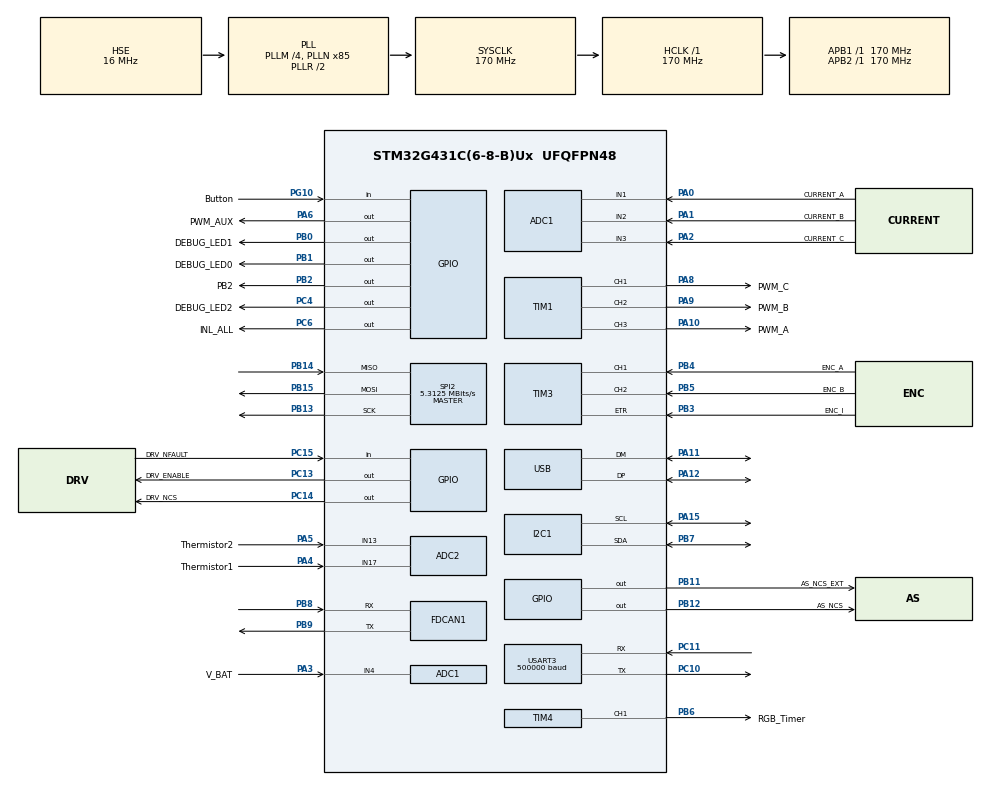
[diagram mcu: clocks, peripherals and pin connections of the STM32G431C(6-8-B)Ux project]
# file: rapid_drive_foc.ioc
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ADC1.Channel-0\#ChannelRegularConversion=ADC_CHANNEL_1
ADC1.Channel-1\#ChannelRegularConversion=ADC_CHANNEL_2
ADC1.Channel-2\#ChannelRegularConversion=ADC_CHANNEL_3
ADC1.Channel-3\#ChannelRegularConversion=ADC_CHANNEL_4
ADC1.ClockPrescaler=ADC_CLOCK_ASYNC_DIV4
ADC1.DMAContinuousRequests=ENABLE
ADC1.EOCSelection=ADC_EOC_SEQ_CONV
ADC1.EnableAnalogWatchDog1=false
ADC1.EnableInjectedConversion=ENABLE
ADC1.ExternalTrigConv=ADC_EXTERNALTRIG_T1_TRGO2
ADC1.ExternalTrigConvEdge=ADC_EXTERNALTRIGCONVEDGE_RISINGFALLING
ADC1.NbrOfConversion=4
ADC1.NbrOfConversionFlag=1
ADC1.OffsetNumber-0\#ChannelRegularConversion=ADC_OFFSET_NONE
ADC1.OffsetNumber-1\#ChannelRegularConversion=ADC_OFFSET_NONE
ADC1.OffsetNumber-2\#ChannelRegularConversion=ADC_OFFSET_NONE
ADC1.OffsetNumber-3\#ChannelRegularConversion=ADC_OFFSET_NONE
ADC1.Overrun=ADC_OVR_DATA_OVERWRITTEN
ADC1.Rank-0\#ChannelRegularConversion=1
ADC1.Rank-1\#ChannelRegularConversion=2
ADC1.Rank-2\#ChannelRegularConversion=3
ADC1.Rank-3\#ChannelRegularConversion=4
ADC1.SamplingTime-0\#ChannelRegularConversion=ADC_SAMPLETIME_12CYCLES_5
ADC1.SamplingTime-1\#ChannelRegularConversion=ADC_SAMPLETIME_12CYCLES_5
ADC1.SamplingTime-2\#ChannelRegularConversion=ADC_SAMPLETIME_12CYCLES_5
ADC1.SamplingTime-3\#ChannelRegularConversion=ADC_SAMPLETIME_47CYCLES_5
ADC1.master=1
ADC2.Channel-2\#ChannelRegularConversion=ADC_CHANNEL_17
ADC2.Channel-3\#ChannelRegularConversion=ADC_CHANNEL_13
ADC2.ClockPrescaler=ADC_CLOCK_ASYNC_DIV4
ADC2.DMAContinuousRequests=ENABLE
ADC2.EOCSelection=ADC_EOC_SEQ_CONV
ADC2.ExternalTrigConv=ADC_EXTERNALTRIG_T1_TRGO2
ADC2.ExternalTrigConvEdge=ADC_EXTERNALTRIGCONVEDGE_RISINGFALLING
ADC2.LowPowerAutoWait=DISABLE
ADC2.NbrOfConversion=2
ADC2.NbrOfConversionFlag=1
ADC2.OffsetNumber-2\#ChannelRegularConversion=ADC_OFFSET_NONE
ADC2.OffsetNumber-3\#ChannelRegularConversion=ADC_OFFSET_NONE
ADC2.Overrun=ADC_OVR_DATA_OVERWRITTEN
ADC2.OversamplingMode=DISABLE
ADC2.Rank-2\#ChannelRegularConversion=1
ADC2.Rank-3\#ChannelRegularConversion=2
ADC2.SamplingTime-2\#ChannelRegularConversion=ADC_SAMPLETIME_47CYCLES_5
ADC2.SamplingTime-3\#ChannelRegularConversion=ADC_SAMPLETIME_47CYCLES_5
Dma.ADC1.0.Direction=DMA_PERIPH_TO_MEMORY
Dma.ADC1.0.EventEnable=DISABLE
Dma.ADC1.0.Instance=DMA1_Channel1
Dma.ADC1.0.MemDataAlignment=DMA_MDATAALIGN_HALFWORD
Dma.ADC1.0.MemInc=DMA_MINC_ENABLE
Dma.ADC1.0.Mode=DMA_CIRCULAR
Dma.ADC1.0.PeriphDataAlignment=DMA_PDATAALIGN_HALFWORD
Dma.ADC1.0.PeriphInc=DMA_PINC_DISABLE
Dma.ADC1.0.Polarity=HAL_DMAMUX_REQ_GEN_RISING
Dma.ADC1.0.Priority=DMA_PRIORITY_HIGH
Dma.ADC1.0.RequestNumber=1
Dma.ADC1.0.SignalID=NONE
Dma.ADC1.0.SyncEnable=DISABLE
Dma.ADC1.0.SyncPolarity=HAL_DMAMUX_SYNC_NO_EVENT
Dma.ADC1.0.SyncRequestNumber=1
Dma.ADC1.0.SyncSignalID=NONE
Dma.ADC2.4.Direction=DMA_PERIPH_TO_MEMORY
Dma.ADC2.4.EventEnable=DISABLE
Dma.ADC2.4.Instance=DMA1_Channel5
Dma.ADC2.4.MemDataAlignment=DMA_MDATAALIGN_HALFWORD
Dma.ADC2.4.MemInc=DMA_MINC_ENABLE
Dma.ADC2.4.Mode=DMA_CIRCULAR
Dma.ADC2.4.PeriphDataAlignment=DMA_PDATAALIGN_HALFWORD
Dma.ADC2.4.PeriphInc=DMA_PINC_DISABLE
Dma.ADC2.4.Polarity=HAL_DMAMUX_REQ_GEN_RISING
Dma.ADC2.4.Priority=DMA_PRIORITY_LOW
Dma.ADC2.4.RequestNumber=1
Dma.ADC2.4.SignalID=NONE
Dma.ADC2.4.SyncEnable=DISABLE
Dma.ADC2.4.SyncPolarity=HAL_DMAMUX_SYNC_NO_EVENT
Dma.ADC2.4.SyncRequestNumber=1
Dma.ADC2.4.SyncSignalID=NONE
Dma.Request0=ADC1
Dma.Request1=USART3_RX
Dma.Request2=USART3_TX
Dma.Request3=TIM4_CH1
Dma.Request4=ADC2
Dma.TIM4_CH1.3.Direction=DMA_MEMORY_TO_PERIPH
Dma.TIM4_CH1.3.EventEnable=DISABLE
Dma.TIM4_CH1.3.Instance=DMA1_Channel4
Dma.TIM4_CH1.3.MemDataAlignment=DMA_MDATAALIGN_HALFWORD
Dma.TIM4_CH1.3.MemInc=DMA_MINC_ENABLE
Dma.TIM4_CH1.3.Mode=DMA_NORMAL
Dma.TIM4_CH1.3.PeriphDataAlignment=DMA_PDATAALIGN_HALFWORD
Dma.TIM4_CH1.3.PeriphInc=DMA_PINC_DISABLE
Dma.TIM4_CH1.3.Polarity=HAL_DMAMUX_REQ_GEN_RISING
Dma.TIM4_CH1.3.Priority=DMA_PRIORITY_LOW
Dma.TIM4_CH1.3.RequestNumber=1
Dma.TIM4_CH1.3.SignalID=NONE
Dma.TIM4_CH1.3.SyncEnable=DISABLE
Dma.TIM4_CH1.3.SyncPolarity=HAL_DMAMUX_SYNC_NO_EVENT
Dma.TIM4_CH1.3.SyncRequestNumber=1
Dma.TIM4_CH1.3.SyncSignalID=NONE
Dma.USART3_RX.1.Direction=DMA_PERIPH_TO_MEMORY
Dma.USART3_RX.1.EventEnable=DISABLE
Dma.USART3_RX.1.Instance=DMA1_Channel2
Dma.USART3_RX.1.MemDataAlignment=DMA_MDATAALIGN_BYTE
Dma.USART3_RX.1.MemInc=DMA_MINC_ENABLE
Dma.USART3_RX.1.Mode=DMA_NORMAL
Dma.USART3_RX.1.PeriphDataAlignment=DMA_PDATAALIGN_BYTE
Dma.USART3_RX.1.PeriphInc=DMA_PINC_DISABLE
Dma.USART3_RX.1.Polarity=HAL_DMAMUX_REQ_GEN_RISING
Dma.USART3_RX.1.Priority=DMA_PRIORITY_LOW
Dma.USART3_RX.1.RequestNumber=1
Dma.USART3_RX.1.SignalID=NONE
Dma.USART3_RX.1.SyncEnable=DISABLE
Dma.USART3_RX.1.SyncPolarity=HAL_DMAMUX_SYNC_NO_EVENT
Dma.USART3_RX.1.SyncRequestNumber=1
Dma.USART3_RX.1.SyncSignalID=NONE
Dma.USART3_TX.2.Direction=DMA_MEMORY_TO_PERIPH
Dma.USART3_TX.2.EventEnable=DISABLE
Dma.USART3_TX.2.Instance=DMA1_Channel3
Dma.USART3_TX.2.MemDataAlignment=DMA_MDATAALIGN_BYTE
Dma.USART3_TX.2.MemInc=DMA_MINC_ENABLE
Dma.USART3_TX.2.Mode=DMA_NORMAL
Dma.USART3_TX.2.PeriphDataAlignment=DMA_PDATAALIGN_BYTE
Dma.USART3_TX.2.PeriphInc=DMA_PINC_DISABLE
Dma.USART3_TX.2.Polarity=HAL_DMAMUX_REQ_GEN_RISING
Dma.USART3_TX.2.Priority=DMA_PRIORITY_LOW
Dma.USART3_TX.2.RequestNumber=1
Dma.USART3_TX.2.SignalID=NONE
Dma.USART3_TX.2.SyncEnable=DISABLE
Dma.USART3_TX.2.SyncPolarity=HAL_DMAMUX_SYNC_NO_EVENT
Dma.USART3_TX.2.SyncRequestNumber=1
Dma.USART3_TX.2.SyncSignalID=NONE
FDCAN1.AutoRetransmission=ENABLE
FDCAN1.CalculateBaudRateNominal=1000000
FDCAN1.CalculateTimeBitNominal=1000
FDCAN1.CalculateTimeQuantumNominal=100.0
FDCAN1.DataPrescaler=17
FDCAN1.DataSyncJumpWidth=3
FDCAN1.DataTimeSeg1=6
FDCAN1.DataTimeSeg2=3
FDCAN1.FrameFormat=FDCAN_FRAME_FD_BRS
FDCAN1.Mode=FDCAN_MODE_NORMAL
FDCAN1.NominalPrescaler=17
FDCAN1.NominalSyncJumpWidth=6
FDCAN1.NominalTimeSeg1=6
FDCAN1.NominalTimeSeg2=3
FDCAN1.StdFiltersNbr=5
FDCAN1.TxFifoQueueMode=FDCAN_TX_FIFO_OPERATION
I2C1.Timing=0x40B285C2
Mcu.Family=STM32G4
Mcu.Name=STM32G431C(6-8-B)Ux
Mcu.Package=UFQFPN48
Mcu.UserConstants=ADC1_CHANNELS,4;PWM_CLOCK_DIVIDER,3542;DEBUG_LOOP_CLOCK_DIVIDER,200;PWM_FREQUENCY,(CLOCK_FREQUENCY/(PWM_CLOCK_DIVIDER*2));CLOCK_FREQUENCY,170000000;SPEED_LOOP_CLOCK_DIVIDER,8;ENCODER_PULSES_PER_ROTATION,4096;CURRENT_LOOP_FREQUENCY,(PWM_FREQUENCY/CURRENT_LOOP_CLOCK_DIVIDER);ADC2_CHANNELS,2;DEBUG_FREQUENCY,(PWM_FREQUENCY/DEBUG_LOOP_CLOCK_DIVIDER);CURRENT_LOOP_CLOCK_DIVIDER,3
NVIC.ADC1_2_IRQn=true\:0\:0\:false\:false\:true\:true\:true\:true
NVIC.DMA1_Channel1_IRQn=true\:0\:0\:false\:false\:true\:false\:true\:true
NVIC.DMA1_Channel2_IRQn=true\:0\:0\:false\:false\:true\:false\:true\:true
NVIC.DMA1_Channel3_IRQn=true\:0\:0\:false\:false\:true\:false\:true\:true
NVIC.DMA1_Channel4_IRQn=true\:0\:0\:false\:false\:true\:false\:true\:true
NVIC.DMA1_Channel5_IRQn=true\:0\:0\:false\:false\:true\:false\:true\:true
NVIC.FDCAN1_IT0_IRQn=true\:0\:0\:false\:false\:true\:true\:true\:true
NVIC.FDCAN1_IT1_IRQn=true\:0\:0\:false\:false\:true\:true\:true\:true
NVIC.PriorityGroup=NVIC_PRIORITYGROUP_4
NVIC.TIM4_IRQn=true\:0\:0\:false\:false\:true\:true\:true\:true
NVIC.TIM7_IRQn=true\:0\:0\:false\:false\:true\:true\:true\:true
NVIC.USART3_IRQn=true\:0\:0\:false\:false\:true\:true\:true\:true
NVIC.USB_HP_IRQn=true\:0\:0\:false\:false\:true\:true\:true\:true
NVIC.USB_LP_IRQn=true\:0\:0\:false\:false\:true\:false\:true\:true
PA0.GPIO_Label=CURRENT_A
PA0.Mode=IN1-Single-Ended
PA0.Signal=ADC1_IN1
PA1.GPIO_Label=CURRENT_B
PA1.Mode=IN2-Single-Ended
PA1.Signal=ADC1_IN2
PA10.GPIO_Label=PWM_A
PA10.Signal=S_TIM1_CH3
PA11.Mode=Device
PA11.Signal=USB_DM
PA12.Mode=Device
PA12.Signal=USB_DP
PA13.Mode=Serial_Wire
PA13.Signal=SYS_JTMS-SWDIO
PA14.Mode=Serial_Wire
PA14.Signal=SYS_JTCK-SWCLK
PA15.Mode=I2C
PA15.Signal=I2C1_SCL
PA2.GPIO_Label=CURRENT_C
PA2.Mode=IN3-Single-Ended
PA2.Signal=ADC1_IN3
PA3.GPIO_Label=V_BAT
PA3.Mode=IN4-Single-Ended
PA3.Signal=ADC1_IN4
PA4.GPIO_Label=Thermistor1
PA4.Mode=IN17-Single-Ended
PA4.Signal=ADC2_IN17
PA5.GPIO_Label=Thermistor2
PA5.Mode=IN13-Single-Ended
PA5.Signal=ADC2_IN13
PA6.GPIO_Label=PWM_AUX
PA6.Signal=GPIO_Output
PA8.GPIO_Label=PWM_C
PA8.Signal=S_TIM1_CH1
PA9.GPIO_Label=PWM_B
PA9.Signal=S_TIM1_CH2
PB0.GPIO_Label=DEBUG_LED1
PB0.Signal=GPIO_Output
PB1.GPIO_Label=DEBUG_LED0
PB1.Signal=GPIO_Output
PB11.GPIO_Label=AS_NCS_EXT
PB11.PinState=GPIO_PIN_SET
PB11.Signal=GPIO_Output
PB12.GPIO_Label=AS_NCS
PB12.PinState=GPIO_PIN_SET
PB12.Signal=GPIO_Output
PB13.Mode=Full_Duplex_Master
PB13.Signal=SPI2_SCK
PB14.Mode=Full_Duplex_Master
PB14.Signal=SPI2_MISO
PB15.Mode=Full_Duplex_Master
PB15.Signal=SPI2_MOSI
PB2.GPIO_Label=PB2
PB2.Signal=GPIO_Output
PB3.GPIO_Label=ENC_I
PB3.Signal=S_TIM3_ETR
PB4.GPIO_Label=ENC_A
PB4.Signal=S_TIM3_CH1
PB5.GPIO_Label=ENC_B
PB5.Signal=S_TIM3_CH2
PB6.GPIO_Label=RGB_Timer
PB6.Signal=S_TIM4_CH1
PB7.Mode=I2C
PB7.Signal=I2C1_SDA
PB8-BOOT0.Mode=FDCAN_Activate
PB8-BOOT0.Signal=FDCAN1_RX
PB9.Mode=FDCAN_Activate
PB9.Signal=FDCAN1_TX
PC10.Mode=Asynchronous
PC10.Signal=USART3_TX
PC11.Mode=Asynchronous
PC11.Signal=USART3_RX
PC13.GPIO_Label=DRV_ENABLE
PC13.Signal=GPIO_Output
PC14-OSC32_IN.GPIO_Label=DRV_NCS
PC14-OSC32_IN.PinState=GPIO_PIN_SET
PC14-OSC32_IN.Signal=GPIO_Output
PC15-OSC32_OUT.GPIO_Label=DRV_NFAULT
PC15-OSC32_OUT.Signal=GPIO_Input
PC4.GPIO_Label=DEBUG_LED2
PC4.Signal=GPIO_Output
PC6.GPIO_Label=INL_ALL
PC6.Signal=GPIO_Output
PF0-OSC_IN.Mode=HSE-External-Oscillator
PF0-OSC_IN.Signal=RCC_OSC_IN
PF1-OSC_OUT.Mode=HSE-External-Oscillator
PF1-OSC_OUT.Signal=RCC_OSC_OUT
PG10-NRST.GPIO_Label=Button
PG10-NRST.Signal=GPIO_Input
ProjectManager.HeapSize=0x200
ProjectManager.StackSize=0x400
ProjectManager.TargetToolchain=CMake
RCC.ADC12Freq_Value=170000000
RCC.AHBFreq_Value=170000000
RCC.APB1Freq_Value=170000000
RCC.APB1TimFreq_Value=170000000
RCC.APB2Freq_Value=170000000
RCC.APB2TimFreq_Value=170000000
RCC.CK48CLockSelection=RCC_USBCLKSOURCE_HSI48
RCC.CortexFreq_Value=170000000
RCC.EXTERNAL_CLOCK_VALUE=12288000
RCC.HCLKFreq_Value=170000000
RCC.HSE_VALUE=16000000
RCC.HSI48_VALUE=48000000
RCC.HSI_VALUE=16000000
RCC.LSE_VALUE=32768
RCC.PLLM=RCC_PLLM_DIV4
RCC.PLLN=85
RCC.PLLQ=RCC_PLLQ_DIV8
RCC.PLLSourceVirtual=RCC_PLLSOURCE_HSE
RCC.SYSCLKFreq_VALUE=170000000
RCC.SYSCLKSource=RCC_SYSCLKSOURCE_PLLCLK
RCC.USBFreq_Value=48000000
RCC.VCOOutputFreq_Value=340000000
SH.S_TIM1_CH1.0=TIM1_CH1,PWM Generation1 CH1
SH.S_TIM1_CH2.0=TIM1_CH2,PWM Generation2 CH2
SH.S_TIM1_CH3.0=TIM1_CH3,PWM Generation3 CH3
SH.S_TIM3_CH1.0=TIM3_CH1,Encoder_Interface_w_index
SH.S_TIM3_CH2.0=TIM3_CH2,Encoder_Interface_w_index
SH.S_TIM3_ETR.0=TIM3_ETR,Encoder_Interface_w_index
SH.S_TIM4_CH1.0=TIM4_CH1,PWM Generation1 CH1
SPI2.BaudRatePrescaler=SPI_BAUDRATEPRESCALER_32
SPI2.CLKPhase=SPI_PHASE_2EDGE
SPI2.CalculateBaudRate=5.3125 MBits/s
SPI2.DataSize=SPI_DATASIZE_16BIT
SPI2.Direction=SPI_DIRECTION_2LINES
SPI2.Mode=SPI_MODE_MASTER
SPI2.VirtualType=VM_MASTER
TIM1.AutoReloadPreload=TIM_AUTORELOAD_PRELOAD_ENABLE
TIM1.Channel-Output\ Compare4\ No\ Output=TIM_CHANNEL_4
TIM1.Channel-PWM\ Generation1\ CH1=TIM_CHANNEL_1
TIM1.Channel-PWM\ Generation2\ CH2=TIM_CHANNEL_2
TIM1.Channel-PWM\ Generation3\ CH3=TIM_CHANNEL_3
TIM1.CounterMode=TIM_COUNTERMODE_CENTERALIGNED3
TIM1.OCMode_4=TIM_OCMODE_TOGGLE
TIM1.PeriodNoDither=PWM_CLOCK_DIVIDER-1
TIM1.PulseNoDither_4=PWM_CLOCK_DIVIDER-1
TIM1.TIM_MasterOutputTrigger=TIM_TRGO_UPDATE
TIM1.TIM_MasterOutputTrigger2=TIM_TRGO2_OC4REF
TIM2.Prescaler=17-1
TIM3.EncoderMode=TIM_ENCODERMODE_TI12
TIM3.FirstIndexEnable=DISABLE
TIM3.IC1Filter=1
TIM3.IC2Filter=1
TIM3.IndexDirection=TIM_ENCODERINDEX_DIRECTION_UP_DOWN
TIM3.IndexFilter=1
TIM3.IndexPolarity=TIM_ENCODERINDEX_POLARITY_NONINVERTED
TIM3.IndexPrescaler=TIM_ENCODERINDEX_PRESCALER_DIV1
TIM3.PeriodNoDither=ENCODER_PULSES_PER_ROTATION-1
TIM4.Channel-PWM\ Generation1\ CH1=TIM_CHANNEL_1
TIM4.OCPolarity_1=TIM_OCPOLARITY_HIGH
TIM4.PeriodNoDither=212
TIM4.Prescaler=0
TIM7.PeriodNoDither=10000-1
TIM7.Prescaler=170-1
USART3.BaudRate=500000
USART3.VirtualMode-Asynchronous=VM_ASYNC
USB_DEVICE.CLASS_NAME_FS=CDC
USB_DEVICE.PRODUCT_STRING_CDC_FS=Rapid Drive FOC 
USB_DEVICE.USBD_MAX_STR_DESC_SIZ=512
USB_DEVICE.VirtualMode=Cdc
USB_DEVICE.VirtualModeFS=Cdc_FS
VP_CORDIC_VS_CORDIC.Mode=CORDIC_Activate
VP_RNG_VS_RNG.Mode=RNG_Activate
VP_SYS_VS_DBSignals.Mode=DisableDeadBatterySignals
VP_TIM1_VS_ClockSourceINT.Mode=Internal
VP_TIM1_VS_no_output4.Mode=Output Compare4 No Output
VP_TIM2_VS_ClockSourceINT.Mode=Internal
VP_TIM4_VS_ClockSourceINT.Mode=Internal
VP_TIM7_VS_ClockSourceINT.Mode=Enable_Timer
VP_USB_DEVICE_VS_USB_DEVICE_CDC_FS.Mode=CDC_FS
board=custom

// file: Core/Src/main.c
/* USER CODE BEGIN Header */
/**
  ******************************************************************************
  * @file           : main.c
  * @brief          : Main program body
  ******************************************************************************
  * @attention
  *
  * Copyright (c) 2025 STMicroelectronics.
  * All rights reserved.
  *
  * This software is licensed under terms that can be found in the LICENSE file
  * in the root directory of this software component.
  * If no LICENSE file comes with this software, it is provided AS-IS.
  *
  ******************************************************************************
  */
/* USER CODE END Header */
#include "main.h"
#include "usb_device.h"

/* USER CODE BEGIN Includes */
#include "FOC.h"

/* USER CODE END Includes */

ADC_HandleTypeDef hadc1;
ADC_HandleTypeDef hadc2;
DMA_HandleTypeDef hdma_adc1;
DMA_HandleTypeDef hdma_adc2;

CORDIC_HandleTypeDef hcordic;

FDCAN_HandleTypeDef hfdcan1;

I2C_HandleTypeDef hi2c1;

RNG_HandleTypeDef hrng;

SPI_HandleTypeDef hspi2;

TIM_HandleTypeDef htim1;
TIM_HandleTypeDef htim2;
TIM_HandleTypeDef htim3;
TIM_HandleTypeDef htim4;
TIM_HandleTypeDef htim7;
DMA_HandleTypeDef hdma_tim4_ch1;

UART_HandleTypeDef huart3;
DMA_HandleTypeDef hdma_usart3_rx;
DMA_HandleTypeDef hdma_usart3_tx;

void SystemClock_Config(void);
static void MX_GPIO_Init(void);
static void MX_DMA_Init(void);
static void MX_ADC1_Init(void);
static void MX_FDCAN1_Init(void);
static void MX_SPI2_Init(void);
static void MX_TIM1_Init(void);
static void MX_TIM3_Init(void);
static void MX_TIM4_Init(void);
static void MX_ADC2_Init(void);
static void MX_I2C1_Init(void);
static void MX_USART3_UART_Init(void);
static void MX_TIM2_Init(void);
static void MX_TIM7_Init(void);
static void MX_RNG_Init(void);
static void MX_CORDIC_Init(void);

int main(void)
{

  /* MCU Configuration--------------------------------------------------------*/

  /* Reset of all peripherals, Initializes the Flash interface and the Systick. */
  HAL_Init();

  /* Configure the system clock */
  SystemClock_Config();

  /* Initialize all configured peripherals */
  MX_GPIO_Init();
  MX_DMA_Init();
  MX_ADC1_Init();
  MX_FDCAN1_Init();
  MX_SPI2_Init();
  MX_TIM1_Init();
  MX_TIM3_Init();
  MX_TIM4_Init();
  MX_ADC2_Init();
  MX_I2C1_Init();
  MX_USART3_UART_Init();
  MX_TIM2_Init();
  MX_TIM7_Init();
  MX_RNG_Init();
  MX_CORDIC_Init();
  MX_USB_Device_Init();
  /* USER CODE BEGIN 2 */
  /* Deselect both encoders before driver setup uses their shared SPI bus. */
  HAL_GPIO_WritePin(AS_NCS_GPIO_Port, AS_NCS_Pin, GPIO_PIN_SET);
  HAL_GPIO_WritePin(AS_NCS_EXT_GPIO_Port, AS_NCS_EXT_Pin, GPIO_PIN_SET);
  FOC_Setup();
  /* USER CODE END 2 */

  /* Infinite loop */
  /* USER CODE BEGIN WHILE */
  while (1)
  {
    FOC_Loop();
    /* USER CODE END WHILE */

  }
}

void SystemClock_Config(void)
{
  RCC_OscInitTypeDef RCC_OscInitStruct = {0};
  RCC_ClkInitTypeDef RCC_ClkInitStruct = {0};

  /** Configure the main internal regulator output voltage
  */
  HAL_PWREx_ControlVoltageScaling(PWR_REGULATOR_VOLTAGE_SCALE1_BOOST);

  /** Initializes the RCC Oscillators according to the specified parameters
  * in the RCC_OscInitTypeDef structure.
  */
  RCC_OscInitStruct.OscillatorType = RCC_OSCILLATORTYPE_HSI48|RCC_OSCILLATORTYPE_HSE;
  RCC_OscInitStruct.HSEState = RCC_HSE_ON;
  RCC_OscInitStruct.HSI48State = RCC_HSI48_ON;
  RCC_OscInitStruct.PLL.PLLState = RCC_PLL_ON;
  RCC_OscInitStruct.PLL.PLLSource = RCC_PLLSOURCE_HSE;
  RCC_OscInitStruct.PLL.PLLM = RCC_PLLM_DIV4;
  RCC_OscInitStruct.PLL.PLLN = 85;
  RCC_OscInitStruct.PLL.PLLP = RCC_PLLP_DIV2;
  RCC_OscInitStruct.PLL.PLLQ = RCC_PLLQ_DIV8;
  RCC_OscInitStruct.PLL.PLLR = RCC_PLLR_DIV2;
  if (HAL_RCC_OscConfig(&RCC_OscInitStruct) != HAL_OK)
  {
    Error_Handler();
  }

  /** Initializes the CPU, AHB and APB buses clocks
  */
  RCC_ClkInitStruct.ClockType = RCC_CLOCKTYPE_HCLK|RCC_CLOCKTYPE_SYSCLK
                              |RCC_CLOCKTYPE_PCLK1|RCC_CLOCKTYPE_PCLK2;
  RCC_ClkInitStruct.SYSCLKSource = RCC_SYSCLKSOURCE_PLLCLK;
  RCC_ClkInitStruct.AHBCLKDivider = RCC_SYSCLK_DIV1;
  RCC_ClkInitStruct.APB1CLKDivider = RCC_HCLK_DIV1;
  RCC_ClkInitStruct.APB2CLKDivider = RCC_HCLK_DIV1;

  if (HAL_RCC_ClockConfig(&RCC_ClkInitStruct, FLASH_LATENCY_4) != HAL_OK)
  {
    Error_Handler();
  }
}

static void MX_ADC1_Init(void)
{

  ADC_MultiModeTypeDef multimode = {0};
  ADC_ChannelConfTypeDef sConfig = {0};

  /** Common config
  */
  hadc1.Instance = ADC1;
  hadc1.Init.ClockPrescaler = ADC_CLOCK_ASYNC_DIV4;
  hadc1.Init.Resolution = ADC_RESOLUTION_12B;
  hadc1.Init.DataAlign = ADC_DATAALIGN_RIGHT;
  hadc1.Init.GainCompensation = 0;
  hadc1.Init.ScanConvMode = ADC_SCAN_ENABLE;
  hadc1.Init.EOCSelection = ADC_EOC_SEQ_CONV;
  hadc1.Init.LowPowerAutoWait = DISABLE;
  hadc1.Init.ContinuousConvMode = DISABLE;
  hadc1.Init.NbrOfConversion = 4;
  hadc1.Init.DiscontinuousConvMode = DISABLE;
  hadc1.Init.ExternalTrigConv = ADC_EXTERNALTRIG_T1_TRGO2;
  hadc1.Init.ExternalTrigConvEdge = ADC_EXTERNALTRIGCONVEDGE_RISINGFALLING;
  hadc1.Init.DMAContinuousRequests = ENABLE;
  hadc1.Init.Overrun = ADC_OVR_DATA_OVERWRITTEN;
  hadc1.Init.OversamplingMode = DISABLE;
  if (HAL_ADC_Init(&hadc1) != HAL_OK)
  {
    Error_Handler();
  }

  /** Configure the ADC multi-mode
  */
  multimode.Mode = ADC_MODE_INDEPENDENT;
  if (HAL_ADCEx_MultiModeConfigChannel(&hadc1, &multimode) != HAL_OK)
  {
    Error_Handler();
  }

  /** Configure Regular Channel
  */
  sConfig.Channel = ADC_CHANNEL_1;
  sConfig.Rank = ADC_REGULAR_RANK_1;
  sConfig.SamplingTime = ADC_SAMPLETIME_12CYCLES_5;
  sConfig.SingleDiff = ADC_SINGLE_ENDED;
  sConfig.OffsetNumber = ADC_OFFSET_NONE;
  sConfig.Offset = 0;
  if (HAL_ADC_ConfigChannel(&hadc1, &sConfig) != HAL_OK)
  {
    Error_Handler();
  }

  /** Configure Regular Channel
  */
  sConfig.Channel = ADC_CHANNEL_2;
  sConfig.Rank = ADC_REGULAR_RANK_2;
  if (HAL_ADC_ConfigChannel(&hadc1, &sConfig) != HAL_OK)
  {
    Error_Handler();
  }

  /** Configure Regular Channel
  */
  sConfig.Channel = ADC_CHANNEL_3;
  sConfig.Rank = ADC_REGULAR_RANK_3;
  if (HAL_ADC_ConfigChannel(&hadc1, &sConfig) != HAL_OK)
  {
    Error_Handler();
  }

  /** Configure Regular Channel
  */
  sConfig.Channel = ADC_CHANNEL_4;
  sConfig.Rank = ADC_REGULAR_RANK_4;
  sConfig.SamplingTime = ADC_SAMPLETIME_47CYCLES_5;
  if (HAL_ADC_ConfigChannel(&hadc1, &sConfig) != HAL_OK)
  {
    Error_Handler();
  }

}

static void MX_ADC2_Init(void)
{

  ADC_ChannelConfTypeDef sConfig = {0};

  /** Common config
  */
  hadc2.Instance = ADC2;
  hadc2.Init.ClockPrescaler = ADC_CLOCK_ASYNC_DIV4;
  hadc2.Init.Resolution = ADC_RESOLUTION_12B;
  hadc2.Init.DataAlign = ADC_DATAALIGN_RIGHT;
  hadc2.Init.GainCompensation = 0;
  hadc2.Init.ScanConvMode = ADC_SCAN_ENABLE;
  hadc2.Init.EOCSelection = ADC_EOC_SEQ_CONV;
  hadc2.Init.LowPowerAutoWait = DISABLE;
  hadc2.Init.ContinuousConvMode = DISABLE;
  hadc2.Init.NbrOfConversion = 2;
  hadc2.Init.DiscontinuousConvMode = DISABLE;
  hadc2.Init.ExternalTrigConv = ADC_EXTERNALTRIG_T1_TRGO2;
  hadc2.Init.ExternalTrigConvEdge = ADC_EXTERNALTRIGCONVEDGE_RISINGFALLING;
  hadc2.Init.DMAContinuousRequests = ENABLE;
  hadc2.Init.Overrun = ADC_OVR_DATA_OVERWRITTEN;
  hadc2.Init.OversamplingMode = DISABLE;
  if (HAL_ADC_Init(&hadc2) != HAL_OK)
  {
    Error_Handler();
  }

  /** Configure Regular Channel
  */
  sConfig.Channel = ADC_CHANNEL_17;
  sConfig.Rank = ADC_REGULAR_RANK_1;
  sConfig.SamplingTime = ADC_SAMPLETIME_47CYCLES_5;
  sConfig.SingleDiff = ADC_SINGLE_ENDED;
  sConfig.OffsetNumber = ADC_OFFSET_NONE;
  sConfig.Offset = 0;
  if (HAL_ADC_ConfigChannel(&hadc2, &sConfig) != HAL_OK)
  {
    Error_Handler();
  }

  /** Configure Regular Channel
  */
  sConfig.Channel = ADC_CHANNEL_13;
  sConfig.Rank = ADC_REGULAR_RANK_2;
  if (HAL_ADC_ConfigChannel(&hadc2, &sConfig) != HAL_OK)
  {
    Error_Handler();
  }

}

static void MX_CORDIC_Init(void)
{

  /* USER CODE BEGIN CORDIC_Init 0 */
  CORDIC_ConfigTypeDef config = {
        .Function = CORDIC_FUNCTION_COSINE,
        .Scale = CORDIC_SCALE_0,
        .InSize = CORDIC_INSIZE_32BITS,
        .OutSize = CORDIC_OUTSIZE_32BITS,
        .NbWrite = CORDIC_NBWRITE_1,
        .NbRead = CORDIC_NBREAD_2,
        .Precision = CORDIC_PRECISION_6CYCLES
    };

  /* USER CODE END CORDIC_Init 0 */

  hcordic.Instance = CORDIC;
  if (HAL_CORDIC_Init(&hcordic) != HAL_OK)
  {
    Error_Handler();
  }
  /* USER CODE BEGIN CORDIC_Init 2 */

  if(HAL_CORDIC_Configure(&hcordic, &config) != HAL_OK){
    Error_Handler();
  }

  /* USER CODE END CORDIC_Init 2 */

}

static void MX_FDCAN1_Init(void)
{

  hfdcan1.Instance = FDCAN1;
  hfdcan1.Init.ClockDivider = FDCAN_CLOCK_DIV1;
  hfdcan1.Init.FrameFormat = FDCAN_FRAME_FD_BRS;
  hfdcan1.Init.Mode = FDCAN_MODE_NORMAL;
  hfdcan1.Init.AutoRetransmission = ENABLE;
  hfdcan1.Init.TransmitPause = DISABLE;
  hfdcan1.Init.ProtocolException = DISABLE;
  hfdcan1.Init.NominalPrescaler = 17;
  hfdcan1.Init.NominalSyncJumpWidth = 6;
  hfdcan1.Init.NominalTimeSeg1 = 6;
  hfdcan1.Init.NominalTimeSeg2 = 3;
  hfdcan1.Init.DataPrescaler = 17;
  hfdcan1.Init.DataSyncJumpWidth = 3;
  hfdcan1.Init.DataTimeSeg1 = 6;
  hfdcan1.Init.DataTimeSeg2 = 3;
  hfdcan1.Init.StdFiltersNbr = 5;
  hfdcan1.Init.ExtFiltersNbr = 0;
  hfdcan1.Init.TxFifoQueueMode = FDCAN_TX_FIFO_OPERATION;
  if (HAL_FDCAN_Init(&hfdcan1) != HAL_OK)
  {
    Error_Handler();
  }

}

static void MX_I2C1_Init(void)
{

  hi2c1.Instance = I2C1;
  hi2c1.Init.Timing = 0x40B285C2;
  hi2c1.Init.OwnAddress1 = 0;
  hi2c1.Init.AddressingMode = I2C_ADDRESSINGMODE_7BIT;
  hi2c1.Init.DualAddressMode = I2C_DUALADDRESS_DISABLE;
  hi2c1.Init.OwnAddress2 = 0;
  hi2c1.Init.OwnAddress2Masks = I2C_OA2_NOMASK;
  hi2c1.Init.GeneralCallMode = I2C_GENERALCALL_DISABLE;
  hi2c1.Init.NoStretchMode = I2C_NOSTRETCH_DISABLE;
  if (HAL_I2C_Init(&hi2c1) != HAL_OK)
  {
    Error_Handler();
  }

  /** Configure Analogue filter
  */
  if (HAL_I2CEx_ConfigAnalogFilter(&hi2c1, I2C_ANALOGFILTER_ENABLE) != HAL_OK)
  {
    Error_Handler();
  }

  /** Configure Digital filter
  */
  if (HAL_I2CEx_ConfigDigitalFilter(&hi2c1, 0) != HAL_OK)
  {
    Error_Handler();
  }

}

static void MX_RNG_Init(void)
{

  hrng.Instance = RNG;
  hrng.Init.ClockErrorDetection = RNG_CED_ENABLE;
  if (HAL_RNG_Init(&hrng) != HAL_OK)
  {
    Error_Handler();
  }

}

static void MX_SPI2_Init(void)
{

  /* SPI2 parameter configuration*/
  hspi2.Instance = SPI2;
  hspi2.Init.Mode = SPI_MODE_MASTER;
  hspi2.Init.Direction = SPI_DIRECTION_2LINES;
  hspi2.Init.DataSize = SPI_DATASIZE_16BIT;
  hspi2.Init.CLKPolarity = SPI_POLARITY_LOW;
  hspi2.Init.CLKPhase = SPI_PHASE_2EDGE;
  hspi2.Init.NSS = SPI_NSS_SOFT;
  hspi2.Init.BaudRatePrescaler = SPI_BAUDRATEPRESCALER_32;
  hspi2.Init.FirstBit = SPI_FIRSTBIT_MSB;
  hspi2.Init.TIMode = SPI_TIMODE_DISABLE;
  hspi2.Init.CRCCalculation = SPI_CRCCALCULATION_DISABLE;
  hspi2.Init.CRCPolynomial = 7;
  hspi2.Init.CRCLength = SPI_CRC_LENGTH_DATASIZE;
  hspi2.Init.NSSPMode = SPI_NSS_PULSE_DISABLE;
  if (HAL_SPI_Init(&hspi2) != HAL_OK)
  {
    Error_Handler();
  }

}

static void MX_TIM1_Init(void)
{

  TIM_ClockConfigTypeDef sClockSourceConfig = {0};
  TIM_MasterConfigTypeDef sMasterConfig = {0};
  TIM_OC_InitTypeDef sConfigOC = {0};
  TIM_BreakDeadTimeConfigTypeDef sBreakDeadTimeConfig = {0};

  htim1.Instance = TIM1;
  htim1.Init.Prescaler = 0;
  htim1.Init.CounterMode = TIM_COUNTERMODE_CENTERALIGNED3;
  htim1.Init.Period = 3541;
  htim1.Init.ClockDivision = TIM_CLOCKDIVISION_DIV1;
  htim1.Init.RepetitionCounter = 0;
  htim1.Init.AutoReloadPreload = TIM_AUTORELOAD_PRELOAD_ENABLE;
  if (HAL_TIM_Base_Init(&htim1) != HAL_OK)
  {
    Error_Handler();
  }
  sClockSourceConfig.ClockSource = TIM_CLOCKSOURCE_INTERNAL;
  if (HAL_TIM_ConfigClockSource(&htim1, &sClockSourceConfig) != HAL_OK)
  {
    Error_Handler();
  }
  if (HAL_TIM_PWM_Init(&htim1) != HAL_OK)
  {
    Error_Handler();
  }
  if (HAL_TIM_OC_Init(&htim1) != HAL_OK)
  {
    Error_Handler();
  }
  sMasterConfig.MasterOutputTrigger = TIM_TRGO_UPDATE;
  sMasterConfig.MasterOutputTrigger2 = TIM_TRGO2_OC4REF;
  sMasterConfig.MasterSlaveMode = TIM_MASTERSLAVEMODE_DISABLE;
  if (HAL_TIMEx_MasterConfigSynchronization(&htim1, &sMasterConfig) != HAL_OK)
  {
    Error_Handler();
  }
  sConfigOC.OCMode = TIM_OCMODE_PWM1;
  sConfigOC.Pulse = 0;
  sConfigOC.OCPolarity = TIM_OCPOLARITY_HIGH;
  sConfigOC.OCNPolarity = TIM_OCNPOLARITY_HIGH;
  sConfigOC.OCFastMode = TIM_OCFAST_DISABLE;
  sConfigOC.OCIdleState = TIM_OCIDLESTATE_RESET;
  sConfigOC.OCNIdleState = TIM_OCNIDLESTATE_RESET;
  if (HAL_TIM_PWM_ConfigChannel(&htim1, &sConfigOC, TIM_CHANNEL_1) != HAL_OK)
  {
    Error_Handler();
  }
  if (HAL_TIM_PWM_ConfigChannel(&htim1, &sConfigOC, TIM_CHANNEL_2) != HAL_OK)
  {
    Error_Handler();
  }
  if (HAL_TIM_PWM_ConfigChannel(&htim1, &sConfigOC, TIM_CHANNEL_3) != HAL_OK)
  {
    Error_Handler();
  }
  sConfigOC.OCMode = TIM_OCMODE_TOGGLE;
  sConfigOC.Pulse = 3541;
  if (HAL_TIM_OC_ConfigChannel(&htim1, &sConfigOC, TIM_CHANNEL_4) != HAL_OK)
  {
    Error_Handler();
  }
  sBreakDeadTimeConfig.OffStateRunMode = TIM_OSSR_DISABLE;
  sBreakDeadTimeConfig.OffStateIDLEMode = TIM_OSSI_DISABLE;
  sBreakDeadTimeConfig.LockLevel = TIM_LOCKLEVEL_OFF;
  sBreakDeadTimeConfig.DeadTime = 0;
  sBreakDeadTimeConfig.BreakState = TIM_BREAK_DISABLE;
  sBreakDeadTimeConfig.BreakPolarity = TIM_BREAKPOLARITY_HIGH;
  sBreakDeadTimeConfig.BreakFilter = 0;
  sBreakDeadTimeConfig.BreakAFMode = TIM_BREAK_AFMODE_INPUT;
  sBreakDeadTimeConfig.Break2State = TIM_BREAK2_DISABLE;
  sBreakDeadTimeConfig.Break2Polarity = TIM_BREAK2POLARITY_HIGH;
  sBreakDeadTimeConfig.Break2Filter = 0;
  sBreakDeadTimeConfig.Break2AFMode = TIM_BREAK_AFMODE_INPUT;
  sBreakDeadTimeConfig.AutomaticOutput = TIM_AUTOMATICOUTPUT_DISABLE;
  if (HAL_TIMEx_ConfigBreakDeadTime(&htim1, &sBreakDeadTimeConfig) != HAL_OK)
  {
    Error_Handler();
  }
  HAL_TIM_MspPostInit(&htim1);

}

static void MX_TIM2_Init(void)
{

  TIM_ClockConfigTypeDef sClockSourceConfig = {0};
  TIM_MasterConfigTypeDef sMasterConfig = {0};

  htim2.Instance = TIM2;
  htim2.Init.Prescaler = 17-1;
  htim2.Init.CounterMode = TIM_COUNTERMODE_UP;
  htim2.Init.Period = 4294967295;
  htim2.Init.ClockDivision = TIM_CLOCKDIVISION_DIV1;
  htim2.Init.AutoReloadPreload = TIM_AUTORELOAD_PRELOAD_DISABLE;
  if (HAL_TIM_Base_Init(&htim2) != HAL_OK)
  {
    Error_Handler();
  }
  sClockSourceConfig.ClockSource = TIM_CLOCKSOURCE_INTERNAL;
  if (HAL_TIM_ConfigClockSource(&htim2, &sClockSourceConfig) != HAL_OK)
  {
    Error_Handler();
  }
  sMasterConfig.MasterOutputTrigger = TIM_TRGO_RESET;
  sMasterConfig.MasterSlaveMode = TIM_MASTERSLAVEMODE_DISABLE;
  if (HAL_TIMEx_MasterConfigSynchronization(&htim2, &sMasterConfig) != HAL_OK)
  {
    Error_Handler();
  }

}

static void MX_TIM3_Init(void)
{

  TIM_Encoder_InitTypeDef sConfig = {0};
  TIM_MasterConfigTypeDef sMasterConfig = {0};
  TIMEx_EncoderIndexConfigTypeDef sEncoderIndexConfig = {0};

  htim3.Instance = TIM3;
  htim3.Init.Prescaler = 0;
  htim3.Init.CounterMode = TIM_COUNTERMODE_UP;
  htim3.Init.Period = 4095;
  htim3.Init.ClockDivision = TIM_CLOCKDIVISION_DIV1;
  htim3.Init.AutoReloadPreload = TIM_AUTORELOAD_PRELOAD_DISABLE;
  sConfig.EncoderMode = TIM_ENCODERMODE_TI12;
  sConfig.IC1Polarity = TIM_ICPOLARITY_RISING;
  sConfig.IC1Selection = TIM_ICSELECTION_DIRECTTI;
  sConfig.IC1Prescaler = TIM_ICPSC_DIV1;
  sConfig.IC1Filter = 1;
  sConfig.IC2Polarity = TIM_ICPOLARITY_RISING;
  sConfig.IC2Selection = TIM_ICSELECTION_DIRECTTI;
  sConfig.IC2Prescaler = TIM_ICPSC_DIV1;
  sConfig.IC2Filter = 1;
  if (HAL_TIM_Encoder_Init(&htim3, &sConfig) != HAL_OK)
  {
    Error_Handler();
  }
  sMasterConfig.MasterOutputTrigger = TIM_TRGO_RESET;
  sMasterConfig.MasterSlaveMode = TIM_MASTERSLAVEMODE_DISABLE;
  if (HAL_TIMEx_MasterConfigSynchronization(&htim3, &sMasterConfig) != HAL_OK)
  {
    Error_Handler();
  }
  sEncoderIndexConfig.Polarity = TIM_ENCODERINDEX_POLARITY_NONINVERTED;
  sEncoderIndexConfig.Prescaler = TIM_ENCODERINDEX_PRESCALER_DIV1;
  sEncoderIndexConfig.Filter = 1;
  sEncoderIndexConfig.FirstIndexEnable = DISABLE;
  sEncoderIndexConfig.Position = TIM_ENCODERINDEX_POSITION_00;
  sEncoderIndexConfig.Direction = TIM_ENCODERINDEX_DIRECTION_UP_DOWN;
  if (HAL_TIMEx_ConfigEncoderIndex(&htim3, &sEncoderIndexConfig) != HAL_OK)
  {
    Error_Handler();
  }

}

static void MX_TIM4_Init(void)
{

  TIM_ClockConfigTypeDef sClockSourceConfig = {0};
  TIM_MasterConfigTypeDef sMasterConfig = {0};
  TIM_OC_InitTypeDef sConfigOC = {0};

  htim4.Instance = TIM4;
  htim4.Init.Prescaler = 0;
  htim4.Init.CounterMode = TIM_COUNTERMODE_UP;
  htim4.Init.Period = 212;
  htim4.Init.ClockDivision = TIM_CLOCKDIVISION_DIV1;
  htim4.Init.AutoReloadPreload = TIM_AUTORELOAD_PRELOAD_DISABLE;
  if (HAL_TIM_Base_Init(&htim4) != HAL_OK)
  {
    Error_Handler();
  }
  sClockSourceConfig.ClockSource = TIM_CLOCKSOURCE_INTERNAL;
  if (HAL_TIM_ConfigClockSource(&htim4, &sClockSourceConfig) != HAL_OK)
  {
    Error_Handler();
  }
  if (HAL_TIM_PWM_Init(&htim4) != HAL_OK)
  {
    Error_Handler();
  }
  sMasterConfig.MasterOutputTrigger = TIM_TRGO_RESET;
  sMasterConfig.MasterSlaveMode = TIM_MASTERSLAVEMODE_DISABLE;
  if (HAL_TIMEx_MasterConfigSynchronization(&htim4, &sMasterConfig) != HAL_OK)
  {
    Error_Handler();
  }
  sConfigOC.OCMode = TIM_OCMODE_PWM1;
  sConfigOC.Pulse = 0;
  sConfigOC.OCPolarity = TIM_OCPOLARITY_HIGH;
  sConfigOC.OCFastMode = TIM_OCFAST_DISABLE;
  if (HAL_TIM_PWM_ConfigChannel(&htim4, &sConfigOC, TIM_CHANNEL_1) != HAL_OK)
  {
    Error_Handler();
  }
  HAL_TIM_MspPostInit(&htim4);

}

static void MX_TIM7_Init(void)
{

  TIM_MasterConfigTypeDef sMasterConfig = {0};

  htim7.Instance = TIM7;
  htim7.Init.Prescaler = 170-1;
  htim7.Init.CounterMode = TIM_COUNTERMODE_UP;
  htim7.Init.Period = 9999;
  htim7.Init.AutoReloadPreload = TIM_AUTORELOAD_PRELOAD_DISABLE;
  if (HAL_TIM_Base_Init(&htim7) != HAL_OK)
  {
    Error_Handler();
  }
  sMasterConfig.MasterOutputTrigger = TIM_TRGO_RESET;
  sMasterConfig.MasterSlaveMode = TIM_MASTERSLAVEMODE_DISABLE;
  if (HAL_TIMEx_MasterConfigSynchronization(&htim7, &sMasterConfig) != HAL_OK)
  {
    Error_Handler();
  }

}

static void MX_USART3_UART_Init(void)
{

  huart3.Instance = USART3;
  huart3.Init.BaudRate = 500000;
  huart3.Init.WordLength = UART_WORDLENGTH_8B;
  huart3.Init.StopBits = UART_STOPBITS_1;
  huart3.Init.Parity = UART_PARITY_NONE;
  huart3.Init.Mode = UART_MODE_TX_RX;
  huart3.Init.HwFlowCtl = UART_HWCONTROL_NONE;
  huart3.Init.OverSampling = UART_OVERSAMPLING_16;
  huart3.Init.OneBitSampling = UART_ONE_BIT_SAMPLE_DISABLE;
  huart3.Init.ClockPrescaler = UART_PRESCALER_DIV1;
  huart3.AdvancedInit.AdvFeatureInit = UART_ADVFEATURE_NO_INIT;
  if (HAL_UART_Init(&huart3) != HAL_OK)
  {
    Error_Handler();
  }
  if (HAL_UARTEx_SetTxFifoThreshold(&huart3, UART_TXFIFO_THRESHOLD_1_8) != HAL_OK)
  {
    Error_Handler();
  }
  if (HAL_UARTEx_SetRxFifoThreshold(&huart3, UART_RXFIFO_THRESHOLD_1_8) != HAL_OK)
  {
    Error_Handler();
  }
  if (HAL_UARTEx_DisableFifoMode(&huart3) != HAL_OK)
  {
    Error_Handler();
  }

}

static void MX_DMA_Init(void)
{

  /* DMA controller clock enable */
  __HAL_RCC_DMAMUX1_CLK_ENABLE();
  __HAL_RCC_DMA1_CLK_ENABLE();

  /* DMA interrupt init */
  /* DMA1_Channel1_IRQn interrupt configuration */
  HAL_NVIC_SetPriority(DMA1_Channel1_IRQn, 0, 0);
  HAL_NVIC_EnableIRQ(DMA1_Channel1_IRQn);
  /* DMA1_Channel2_IRQn interrupt configuration */
  HAL_NVIC_SetPriority(DMA1_Channel2_IRQn, 0, 0);
  HAL_NVIC_EnableIRQ(DMA1_Channel2_IRQn);
  /* DMA1_Channel3_IRQn interrupt configuration */
  HAL_NVIC_SetPriority(DMA1_Channel3_IRQn, 0, 0);
  HAL_NVIC_EnableIRQ(DMA1_Channel3_IRQn);
  /* DMA1_Channel4_IRQn interrupt configuration */
  HAL_NVIC_SetPriority(DMA1_Channel4_IRQn, 0, 0);
  HAL_NVIC_EnableIRQ(DMA1_Channel4_IRQn);
  /* DMA1_Channel5_IRQn interrupt configuration */
  HAL_NVIC_SetPriority(DMA1_Channel5_IRQn, 0, 0);
  HAL_NVIC_EnableIRQ(DMA1_Channel5_IRQn);

}

static void MX_GPIO_Init(void)
{
  GPIO_InitTypeDef GPIO_InitStruct = {0};

  /* GPIO Ports Clock Enable */
  __HAL_RCC_GPIOC_CLK_ENABLE();
  __HAL_RCC_GPIOF_CLK_ENABLE();
  __HAL_RCC_GPIOG_CLK_ENABLE();
  __HAL_RCC_GPIOA_CLK_ENABLE();
  __HAL_RCC_GPIOB_CLK_ENABLE();

  /*Configure GPIO pin Output Level */
  HAL_GPIO_WritePin(GPIOC, DRV_ENABLE_Pin|DEBUG_LED2_Pin|INL_ALL_Pin, GPIO_PIN_RESET);

  /*Configure GPIO pin Output Level */
  HAL_GPIO_WritePin(DRV_NCS_GPIO_Port, DRV_NCS_Pin, GPIO_PIN_SET);

  /*Configure GPIO pin Output Level */
  HAL_GPIO_WritePin(PWM_AUX_GPIO_Port, PWM_AUX_Pin, GPIO_PIN_RESET);

  /*Configure GPIO pin Output Level */
  HAL_GPIO_WritePin(GPIOB, DEBUG_LED1_Pin|DEBUG_LED0_Pin|PB2_Pin, GPIO_PIN_RESET);
  HAL_GPIO_WritePin(AS_NCS_EXT_GPIO_Port, AS_NCS_EXT_Pin, GPIO_PIN_SET);

  /*Configure GPIO pin Output Level */
  HAL_GPIO_WritePin(AS_NCS_GPIO_Port, AS_NCS_Pin, GPIO_PIN_SET);

  /*Configure GPIO pins : DRV_ENABLE_Pin DRV_NCS_Pin DEBUG_LED2_Pin INL_ALL_Pin */
  GPIO_InitStruct.Pin = DRV_ENABLE_Pin|DRV_NCS_Pin|DEBUG_LED2_Pin|INL_ALL_Pin;
  GPIO_InitStruct.Mode = GPIO_MODE_OUTPUT_PP;
  GPIO_InitStruct.Pull = GPIO_NOPULL;
  GPIO_InitStruct.Speed = GPIO_SPEED_FREQ_LOW;
  HAL_GPIO_Init(GPIOC, &GPIO_InitStruct);

  /*Configure GPIO pin : DRV_NFAULT_Pin */
  GPIO_InitStruct.Pin = DRV_NFAULT_Pin;
  GPIO_InitStruct.Mode = GPIO_MODE_INPUT;
  GPIO_InitStruct.Pull = GPIO_NOPULL;
  HAL_GPIO_Init(DRV_NFAULT_GPIO_Port, &GPIO_InitStruct);

  /*Configure GPIO pin : Button_Pin */
  GPIO_InitStruct.Pin = Button_Pin;
  GPIO_InitStruct.Mode = GPIO_MODE_INPUT;
  GPIO_InitStruct.Pull = GPIO_NOPULL;
  HAL_GPIO_Init(Button_GPIO_Port, &GPIO_InitStruct);

  /*Configure GPIO pin : PWM_AUX_Pin */
  GPIO_InitStruct.Pin = PWM_AUX_Pin;
  GPIO_InitStruct.Mode = GPIO_MODE_OUTPUT_PP;
  GPIO_InitStruct.Pull = GPIO_NOPULL;
  GPIO_InitStruct.Speed = GPIO_SPEED_FREQ_LOW;
  HAL_GPIO_Init(PWM_AUX_GPIO_Port, &GPIO_InitStruct);

  /*Configure GPIO pins : DEBUG_LED1_Pin DEBUG_LED0_Pin PB2_Pin AS_NCS_EXT_Pin
                           AS_NCS_Pin */
  GPIO_InitStruct.Pin = DEBUG_LED1_Pin|DEBUG_LED0_Pin|PB2_Pin|AS_NCS_EXT_Pin
                          |AS_NCS_Pin;
  GPIO_InitStruct.Mode = GPIO_MODE_OUTPUT_PP;
  GPIO_InitStruct.Pull = GPIO_NOPULL;
  GPIO_InitStruct.Speed = GPIO_SPEED_FREQ_LOW;
  HAL_GPIO_Init(GPIOB, &GPIO_InitStruct);

}

void Error_Handler(void)
{
  /* USER CODE BEGIN Error_Handler_Debug */
  /* User can add his own implementation to report the HAL error return state */
  __disable_irq();
  while (1)
  {
    HAL_GPIO_TogglePin(DEBUG_LED0_GPIO_Port, DEBUG_LED0_Pin);
    for (volatile uint32_t i = 0; i < 1000000; i++);
  }
  /* USER CODE END Error_Handler_Debug */
}
